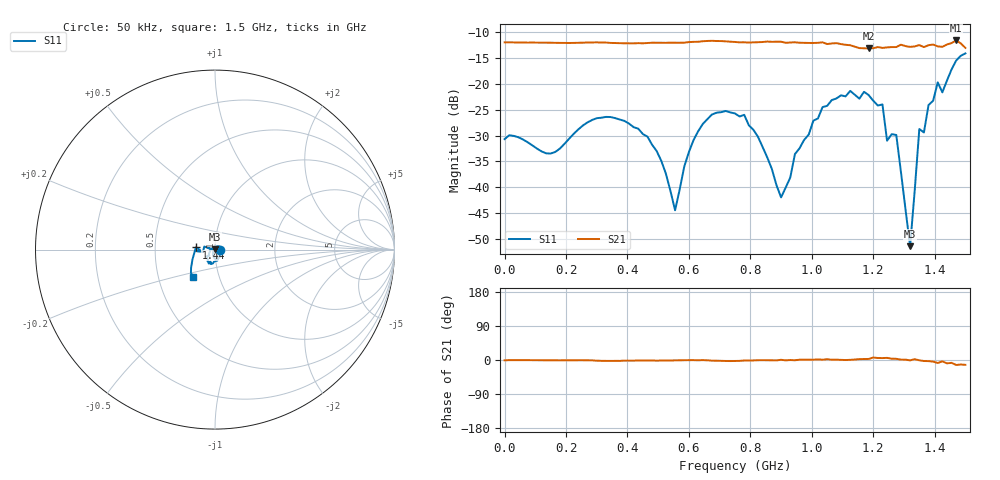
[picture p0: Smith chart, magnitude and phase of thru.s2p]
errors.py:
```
import os
import logging
import numpy as np
import skrf as rf

class CalibrationErrors:
    """General calibration error handler supporting different calibration methods."""

    def __init__(self, calibration_dir, error_subfolder="errors"):
        """
        Initialize the error calculator with the folder containing calibration S1P files.
        All error files will be saved in a subfolder (default: 'errors').
        """
        self.calibration_dir = calibration_dir
        self.error_dir = os.path.join(calibration_dir, error_subfolder)
        os.makedirs(self.error_dir, exist_ok=True)
        logging.info(f"[CalibrationErrors] Initialized with calibration directory: {calibration_dir}")
        logging.info(f"[CalibrationErrors] Error files will be saved in: {self.error_dir}")

        # Common error attributes
        self.directivity = None
        self.reflection_tracking = None
        self.source_match = None

    # ======================================================================
    #  OSM Calibration Method
    # ======================================================================
    def calculate_osm_errors(self):
        """Compute and save OSM (Open-Short-Match) calibration errors."""
        logging.info("[CalibrationErrors] Reading OSM calibration files")

        # Load OSM calibration files
        open_s, short_s, match_s = self._load_osm_files()

        # Extract frequency and S11 parameters
        freq = open_s.f
        s_open = open_s.s[:, 0, 0]
        s_short = short_s.s[:, 0, 0]
        s_match = match_s.s[:, 0, 0]

        n_points = len(freq)
        e00 = np.zeros(n_points, dtype=complex)  # Directivity
        e11 = np.zeros(n_points, dtype=complex)  # Source match
        e10e01 = np.zeros(n_points, dtype=complex)  # Reflection tracking

        # Compute 3-term OSM error model
        for i in range(n_points):
            e00[i] = s_match[i]
            e11[i] = (s_open[i] + s_short[i] - 2 * e00[i]) / (s_open[i] - s_short[i])
            e10e01[i] = -2 * (s_open[i] - e00[i]) * (s_short[i] - e00[i]) / (s_open[i] - s_short[i])

        # Save results as Touchstone S1P files
        self._save_osm_error_file(freq, e00, "directivity.s1p", "Directivity")
        self._save_osm_error_file(freq, e11, "source_match.s1p", "Source match")
        self._save_osm_error_file(freq, e10e01, "reflection_tracking.s1p", "Reflection tracking")

        # Store results for later access
        self.directivity = e00
        self.reflection_tracking = e10e01
        self.source_match = e11

        logging.info("[CalibrationErrors] OSM error calculation completed successfully")

    def calculate_normalization_errors(self):
        """
        Compute and save normalization (THRU) calibration errors.

        This method processes the THRU calibration data, where the measured S21 
        represents the transmission tracking error (e10 * e32) used for 
        normalizing transmission measurements.
        """
        logging.info("[CalibrationErrors] Reading THRU calibration file")

        # Load THRU calibration files
        thru_s = self._load_thru_file()

         # Extract frequency and S21 parameters
        freq = thru_s.f
        s21_measured = thru_s.s[:, 1, 0]  # S21 term from the THRU measurement

        n_points = len(freq)

        # Define error terms
        e10e32 = np.zeros(n_points, dtype=complex)  # Transmission tracking error
        e00 = np.zeros(n_points, dtype=complex)     # Placeholder (unused)
        e11 = np.zeros(n_points, dtype=complex)     # Placeholder (unused)

        # For normalization, assume e10e32 = measured S21
        e10e32 = s21_measured

        # Save the normalization result as an S1P Touchstone file
        self._save_normalization_error_file(freq, e10e32, "transmission_tracking.s2p", "Transmission tracking")

        # Store result for later access
        self.directivity = None
        self.reflection_tracking = None
        self.transmission_tracking = e10e32

        logging.info("[CalibrationErrors] THRU (normalization) error calculation completed successfully")

    def calculate_1PortN_errors(self, osm_dir, thru_dir):
        """
        Calculate errors for the 1-Port+N calibration method.

        This method combines the OSM (Open-Short-Match) error terms for S11
        (directivity, reflection tracking, source match) with the normalization (THRU)
        error term for S21 (transmission tracking). The results are saved in the
        corresponding error subfolder.

        Parameters
        ----------
        osm_dir : str
            Path to the OSM calibration folder (should contain open.s1p, short.s1p, match.s1p)
        thru_dir : str
            Path to the THRU calibration folder (should contain thru.s2p)
        """
        logging.info("[CalibrationErrors] Calculating 1-Port+N errors (OSM + Normalization)")

        # Load OSM calibration files
        open_file = os.path.join(osm_dir, "open.s1p")
        short_file = os.path.join(osm_dir, "short.s1p")
        match_file = os.path.join(osm_dir, "match.s1p")

        # Validate existence
        for f in [open_file, short_file, match_file]:
            if not os.path.exists(f):
                raise FileNotFoundError(f"[CalibrationErrors] Missing calibration file: {f}")

        # Load files using scikit-rf
        open_s = rf.Network(open_file)
        short_s = rf.Network(short_file)
        match_s = rf.Network(match_file)

        # Extract frequency and S11 parameters
        freq = open_s.f
        s_open = open_s.s[:, 0, 0]
        s_short = short_s.s[:, 0, 0]
        s_match = match_s.s[:, 0, 0]

        n_points = len(freq)
        e00 = np.zeros(n_points, dtype=complex)  # Directivity
        e11 = np.zeros(n_points, dtype=complex)  # Source match 
        e10e01 = np.zeros(n_points, dtype=complex)  # Reflection tracking

        # Compute 3-term OSM error model
        for i in range(n_points):
            e00[i] = s_match[i]
            e11[i] = (s_open[i] + s_short[i] - 2 * e00[i]) / (s_open[i] - s_short[i])
            e10e01[i] = -2 * (s_open[i] - e00[i]) * (s_short[i] - e00[i]) / (s_open[i] - s_short[i])

        # Load THRU calibration file
        logging.info("[CalibrationErrors] Loading THRU calibration file...")

        thru_file = os.path.join(thru_dir, "thru.s2p")

        if not os.path.exists(thru_file):
            raise FileNotFoundError(f"[CalibrationErrors] Missing THRU calibration file: {thru_file}")

        thru_s = rf.Network(thru_file)

        # Extract frequency and S21 parameters
        thru_freq = thru_s.f
        s21_measured = thru_s.s[:, 1, 0]
        e10e32 = s21_measured  # Transmission tracking error

        # --- Save errors in the current error_dir ---
        self._save_osm_error_file(freq, e00, "directivity.s1p", "Directivity (1-Port+N)")
        self._save_osm_error_file(freq, e11, "source_match.s1p", "Source Match (1-Port+N)")
        self._save_osm_error_file(freq, e10e01, "reflection_tracking.s1p", "Reflection Tracking (1-Port+N)")
        self._save_normalization_error_file(thru_freq, e10e32, "transmission_tracking.s2p", "Transmission Tracking (1-Port+N)")

        # Store results for later access
        self.directivity_1PortN = e00
        self.reflection_tracking_1PortN = e10e01
        self.source_match_1PortN = e11
        self.transmission_tracking_1PortN = e10e32

        logging.info("[CalibrationErrors] 1-Port+N error calculation completed successfully")

    def calculate_enhanced_response_errors(self, osm_dir, thru_dir):
        """
        Calculate errors for the Enhanced-Response calibration method (OSM + THRU + S11M).

        This method:
        - Calculates OSM errors as usual.
        - Calculates transmission tracking (e10e32) and load match (e22) using THRU measurement and OSM errors.
        - Saves all errors in the 'enhanced_response_errors' subfolder.
        """
        logging.info("[CalibrationErrors] Calculating Enhanced-Response errors (OSM + THRU + S11M)")

        # --- OSM errors ---
        prev_dir = self.calibration_dir
        self.calibration_dir = osm_dir
        
        open_s, short_s, match_s = self._load_osm_files()

        freq = open_s.f
        s_open = open_s.s[:, 0, 0]
        s_short = short_s.s[:, 0, 0]
        s_match = match_s.s[:, 0, 0]

        n_points = len(freq)
        e00 = np.zeros(n_points, dtype=complex)
        e11 = np.zeros(n_points, dtype=complex)
        e10e01 = np.zeros(n_points, dtype=complex)

        for i in range(n_points):
            e00[i] = s_match[i]
            e11[i] = (s_open[i] + s_short[i] - 2 * e00[i]) / (s_open[i] - s_short[i])
            e10e01[i] = -2 * (s_open[i] - e00[i]) * (s_short[i] - e00[i]) / (s_open[i] - s_short[i])
        delta_e = e11 * e00 - e10e01

        # --- THRU measurement ---
        self.calibration_dir = thru_dir
        thru_s = self._load_thru_file()

        thru_freq = thru_s.f
        s11m = thru_s.s[:, 0, 0]  # S11 measured in THRU
        s21m = thru_s.s[:, 1, 0]  # S21 measured in THRU

        # --- Enhanced formulas ---
        # e22 = (S11M - e00) / (S11M * e11 - delta_e)
        e22 = (s11m - e00) / (s11m * e11 - delta_e)
        # e10e32 = S21M * (1 - e11 * e22)
        e10e32 = s21m * (1 - (e11 * e22))

        # --- Save all errors in enhanced_response_errors subfolder ---
        enhanced_dir = os.path.join(self.calibration_dir, "enhanced_response_errors")
        os.makedirs(enhanced_dir, exist_ok=True)

        # Save OSM errors
        self._save_osm_error_file(freq, e00, "directivity.s1p", "Directivity (Enhanced-Response)")
        self._save_osm_error_file(freq, e11, "source_match.s1p", "Source Match (Enhanced-Response)")
        self._save_osm_error_file(freq, e10e01, "reflection_tracking.s1p", "Reflection Tracking (Enhanced-Response)")
        # Save load match (e22)
        self._save_enhanced_response_error_file(thru_freq, e10e32, e22, "transmission_tracking.s2p", "load_match.s2p", "Transmission Tracking (Enhanced-Response)", "Load Match (Enhanced-Response)")

        logging.info("[CalibrationErrors] Enhanced-Response error calculation completed successfully")

    # ======================================================================
    #  Utility Methods
    # ======================================================================
    def _load_osm_files(self):
        """Load the Open, Short, and Match S1P files used for OSM calibration."""
        logging.info("[CalibrationErrors] Loading OSM calibration files...")

        open_file = os.path.join(self.calibration_dir, "open.s1p")
        short_file = os.path.join(self.calibration_dir, "short.s1p")
        match_file = os.path.join(self.calibration_dir, "match.s1p")

        # Validate existence
        for f in [open_file, short_file, match_file]:
            if not os.path.exists(f):
                raise FileNotFoundError(f"[CalibrationErrors] Missing calibration file: {f}")

        # Load files using scikit-rf
        open_s = rf.Network(open_file)
        short_s = rf.Network(short_file)
        match_s = rf.Network(match_file)

        logging.info("[CalibrationErrors] Successfully loaded OSM files")

        return open_s, short_s, match_s

    def calculate_open_short_normalization_errors(self):
        """
        Compute and save Open/Short normalization calibration errors.
        The measured S11 (already sign-corrected) represents the reflection tracking error (e01*e10).
        """
        logging.info("[CalibrationErrors] Reading Open/Short calibration file")
        open_short_s = self._load_open_short_file()
        freq = open_short_s.f
        s11_measured = open_short_s.s[:, 0, 0]

        reflection_tracking = s11_measured

        self._save_osm_error_file(freq, reflection_tracking, "reflection_tracking.s1p", "Reflection tracking")

        self.reflection_tracking = reflection_tracking
        self.directivity = None
        self.source_match = None

        logging.info("[CalibrationErrors] Open/Short normalization error calculation completed")

    def _load_open_short_file(self):
        """Load the Open/Short S1P file used for normalization calibration."""
        open_short_file = os.path.join(self.calibration_dir, "open_short.s1p")
        if not os.path.exists(open_short_file):
            raise FileNotFoundError(f"[CalibrationErrors] Missing Open/Short calibration file: {open_short_file}")
        return rf.Network(open_short_file)

    def _load_thru_file(self):
        """Load the THRU S1P file used for normalization calibration."""
        logging.info("[CalibrationErrors] Loading THRU calibration file...")

        thru_file = os.path.join(self.calibration_dir, "thru.s2p")

        if not os.path.exists(thru_file):
            raise FileNotFoundError(f"[CalibrationErrors] Missing THRU calibration file: {thru_file}")

        thru_network = rf.Network(thru_file)

        logging.info("[CalibrationErrors] Successfully loaded THRU file")

        return thru_network

    def _save_osm_error_file(self, freq, s_data, filename, label):

        network = rf.Network()
        network.frequency = rf.Frequency.from_f(freq, unit="Hz")
        network.s = s_data.reshape((len(freq), 1, 1))
        filepath = os.path.join(self.error_dir, filename)
        network.write_touchstone(filepath)
        logging.info(f"[CalibrationErrors] {label} error saved: {filepath}")

    def _save_normalization_error_file(self, freq, s_data, filename, label):

        network = rf.Network()
        network.frequency = rf.Frequency.from_f(freq, unit="Hz")
        s_matrix = np.zeros((len(freq), 2, 2), dtype=complex)
        s_matrix[:, 1, 0] = s_data  # S21
        network.s = s_matrix
        filepath = os.path.join(self.error_dir, filename)
        network.write_touchstone(filepath)
        logging.info(f"[CalibrationErrors] {label} error saved: {filepath}")

    def _save_enhanced_response_error_file(self, freq, e10e32, e22, transmission_tracking, load_match, label1, label2):

        network = rf.Network()
        network.frequency = rf.Frequency.from_f(freq, unit="Hz")
        s_matrix = np.zeros((len(freq), 2, 2), dtype=complex)
        s_matrix[:, 1, 0] = e10e32  # S21
        network.s = s_matrix
        filepath = os.path.join(self.error_dir, transmission_tracking)
        network.write_touchstone(filepath)
        logging.info(f"[CalibrationErrors] {label1} error saved: {filepath}")

        network = rf.Network()
        network.frequency = rf.Frequency.from_f(freq, unit="Hz")
        s_matrix = np.zeros((len(freq), 2, 2), dtype=complex)
        s_matrix[:, 1, 0] = e22  # S21
        network.s = s_matrix
        filepath = os.path.join(self.error_dir, load_match)
        network.write_touchstone(filepath)
        logging.info(f"[CalibrationErrors] {label2} error saved: {filepath}")
```
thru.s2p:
! Created with skrf 1.8.0 (http://scikit-rf.org).
# Hz S RI R 50.0
!freq ReS11 ImS11 ReS21 ImS21 ReS12 ImS12 ReS22 ImS22
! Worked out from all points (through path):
!   101 points, 50 kHz to 1.5 GHz, reference 50 ohm
!   highest |S21| = -11.64 dB at 1.47 GHz (marker M1); lowest = -13.2 dB at 1.185 GHz (marker M2)
!   lowest |S11| = -51.4 dB at 1.32 GHz (marker M3), VSWR 1.01, Z = 49.8 + j0.169 ohm
!   |S11| at or under -10 dB: start of sweep to end of sweep
!   S12 and S22 are empty: the file has one direction only
!   S11 on the Smith chart (normalised r, x): 50 kHz: 1.06, +0.00; 1.44 GHz: 0.81, +0.02; 1.5 GHz: 0.75, -0.24
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50000  0.0292 0.000252  0.2507 -0.00376  0 0  0 0
3.90037e8  0.0438 -0.000606  0.2456 -0.0069  0 0  0 0
5.550315e8  -0.00535 0.00272  0.2486 -0.00418  0 0  0 0
7.50025e8  0.0215 -0.0469  0.2527 -0.0114  0 0  0 0
9.0002e8  0.0038 0.00704  0.2545 0.00235  0 0  0 0
1.18501e9  -0.0118 -0.0768  0.2189 0.0106  0 0  0 0
1.320006e9  -0.0021 0.0017  0.2269 -0.00379  0 0  0 0
1.350005e9  -0.0355 0.00874  0.236 -0.0037  0 0  0 0
1.440002e9  -0.1066 0.0122  0.2362 -0.0369  0 0  0 0
1.470001e9  -0.1333 -0.1017  0.2548 -0.0594  0 0  0 0
1.5e9  -0.1202 -0.1552  0.2165 -0.0488  0 0  0 0
